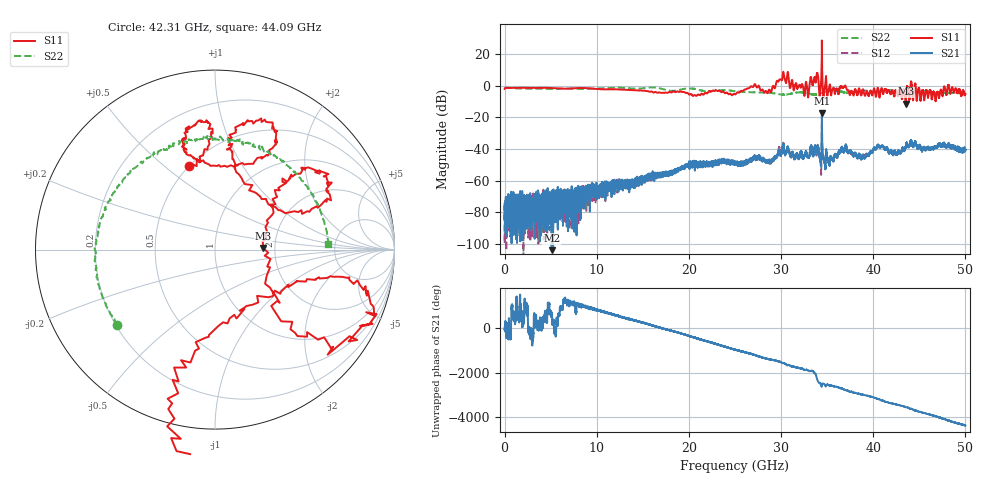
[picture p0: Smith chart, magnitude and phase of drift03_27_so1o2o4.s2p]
!Created with skrf (http://scikit-rf.org).
# Hz S RI R 50.0
!freq ReS11 ImS11 ReS21 ImS21 ReS12 ImS12 ReS22 ImS22
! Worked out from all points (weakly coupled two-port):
!   10000 points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, 5.3 MHz to 50 GHz, reference 50 ohm
!   highest |S21| = -17.49 dB at 34.43 GHz (marker M1); lowest = -104.0 dB at 5.11 GHz (marker M2)
!   lowest |S11| = -11.4 dB at 43.52 GHz (marker M3), VSWR 1.74, Z = 86.8 + j1.61 ohm
!   |S11| at or under -10 dB: 43.4932 GHz to 43.54324 GHz (50.04 MHz wide, 0.115 % of centre)
!   |S22| runs from -5.8 to -1.1 dB; largest |S21 - S12| = 0.028
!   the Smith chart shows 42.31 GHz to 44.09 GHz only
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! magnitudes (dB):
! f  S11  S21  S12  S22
! 5.3 MHz  -2.1  -78.4  -75.3  -1.3
! 5.11 GHz  -1.5  -104.0  -69.3  -2.1
! 8.34 GHz  -1.5  -70.5  -68.7  -2.1
! 16.67 GHz  -4.4  -56.8  -56.5  -1.5
! 20.35 GHz  -6.1  -51.0  -49.4  -1.8
! 25.01 GHz  -5.5  -49.4  -49.4  -3.5
! 27.02 GHz  -0.3  -46.4  -46.0  -4.2
! 28.72 GHz  -2.5  -47.5  -48.0  -4.5
! 30.14 GHz  4.4  -40.9  -40.1  -5.7
! 32.74 GHz  2.0  -42.3  -42.5  -4.6
! 33.34 GHz  2.6  -39.3  -40.1  -5.6
! 33.82 GHz  4.0  -41.5  -42.0  -5.7
! 34.43 GHz  28.6  -17.5  -19.0  -4.6
! 35.32 GHz  0.7  -47.3  -46.5  -3.4
! 36.86 GHz  -0.4  -41.5  -41.0  -4.2
! 38.84 GHz  -3.0  -44.2  -44.2  -3.2
! 40.6 GHz  -4.2  -38.1  -37.9  -4.0
! 41.67 GHz  -3.1  -42.2  -42.4  -3.3
! 43.52 GHz  -11.4  -38.8  -38.8  -4.2
! 46.94 GHz  -4.1  -38.5  -38.4  -4.8
! 48.32 GHz  -4.5  -37.9  -38.3  -4.5
! 50 GHz  -5.3  -40.3  -40.6  -4.5
